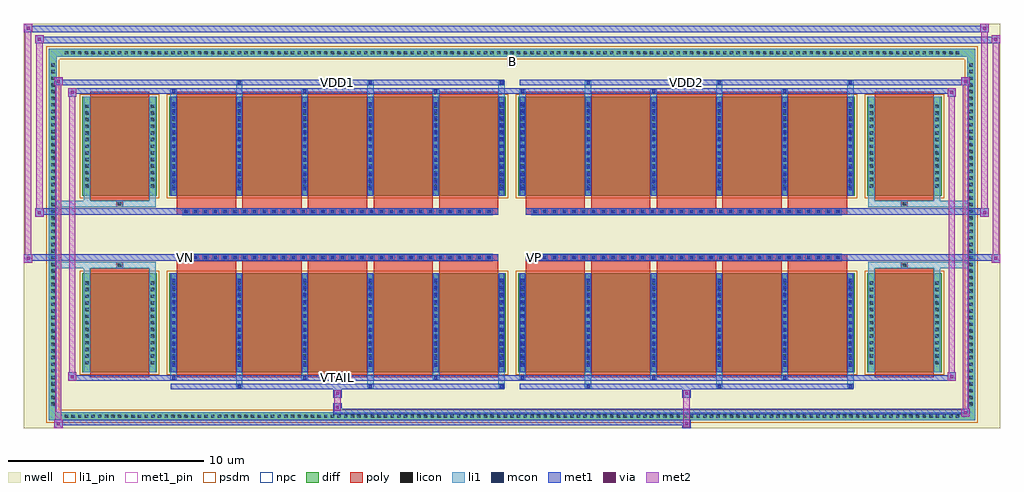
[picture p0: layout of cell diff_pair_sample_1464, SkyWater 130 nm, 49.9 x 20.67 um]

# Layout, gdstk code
import gdstk
lib = gdstk.Library(unit=1e-6, precision=5e-09)
def R(c, l, rs):  # rectangles x0, y0, x1, y1
    for r in rs: c.add(gdstk.rectangle(r[:2], r[2:], *l))
def A(c, l, x, y, w, h, nx, ny, dx, dy):  # array of equal rectangles
    R(c, l, [(x+i*dx, y+j*dy, x+i*dx+w, y+j*dy+h) for i in range(nx) for j in range(ny)])
def P(c, l, *ps):  # polygons
    for p in ps: c.add(gdstk.Polygon(p, *l))
nwell = (64, 20)
diff = (65, 20)
poly = (66, 20)
licon = (66, 44)
li1_pin = (67, 16)
li1 = (67, 20)
mcon = (67, 44)
met1_pin = (68, 16)
met1 = (68, 20)
via = (68, 44)
met2 = (69, 20)
psdm = (94, 20)
npc = (95, 20)

diff_pair_sample_1464 = lib.new_cell('diff_pair_sample_1464')
R(diff_pair_sample_1464, nwell, [(-24.95,-9.9,24.95,10.77), (-22.27,-8.09,-0.01,-0.805), (0.01,-8.09,22.27,-0.805), (-22.27,0.805,-0.01,8.09), (0.01,0.805,22.27,8.09)])
A(diff_pair_sample_1464, diff, -22.985, -9.5, 0.41, 0.41, 135, 2, 0.34, 18.59)
A(diff_pair_sample_1464, diff, -23.68, -8.875, 0.41, 0.41, 1, 52, 0, 0.34)
A(diff_pair_sample_1464, diff, 23.27, -8.875, 0.41, 0.41, 1, 52, 0, 0.34)
R(diff_pair_sample_1464, diff, [(-22.985,-9.5,22.985,-9.09), (-23.68,-8.875,-23.27,8.875), (23.27,-8.875,23.68,8.875), (-21.96,-7.045,-18.16,-1.985), (-17.52,-7.045,-0.32,-1.985), (0.32,-7.045,17.52,-1.985), (18.16,-7.045,21.96,-1.985), (-21.96,1.985,-18.16,7.045), (-17.52,1.985,-0.32,7.045), (0.32,1.985,17.52,7.045), (18.16,1.985,21.96,7.045), (-22.985,9.09,22.985,9.5)])
P(diff_pair_sample_1464, diff, [(23.68,9.5),(-23.68,9.5),(-23.68,-9.09),(-23.27,-9.09),(-23.27,9.09),(23.27,9.09),(23.27,-9.09),(-23.27,-9.09),(-23.68,-9.09),(-23.68,-9.5),(23.68,-9.5)])
A(diff_pair_sample_1464, poly, -17.13, -7.295, 3.02, 5.56, 5, 2, 3.35, 9.03)
A(diff_pair_sample_1464, poly, 0.71, -7.295, 3.02, 5.56, 5, 2, 3.35, 9.03)
A(diff_pair_sample_1464, poly, -17.13, -1.735, 3.02, 0.4, 5, 2, 3.35, 3.07)
A(diff_pair_sample_1464, poly, 0.71, -1.735, 3.02, 0.4, 5, 2, 3.35, 3.07)
A(diff_pair_sample_1464, poly, -16.835, -1.335, 0.33, 0.33, 32, 2, 0.5, 2.34)
A(diff_pair_sample_1464, poly, 1.005, -1.335, 0.33, 0.33, 32, 2, 0.5, 2.34)
R(diff_pair_sample_1464, poly, [(-21.57,-7.295,-18.55,-1.735), (18.55,-7.295,21.57,-1.735), (-20.225,-1.735,-19.895,-1.405), (-20.225,-1.735,-19.895,-1.405), (19.895,-1.735,20.225,-1.405), (19.895,-1.735,20.225,-1.405), (-17.13,-1.335,-0.71,-1.005), (0.71,-1.335,17.13,-1.005), (-17.13,1.005,-0.71,1.335), (0.71,1.005,17.13,1.335), (-20.225,1.405,-19.895,1.735), (-20.225,1.405,-19.895,1.735), (19.895,1.405,20.225,1.735), (19.895,1.405,20.225,1.735), (-21.57,1.735,-18.55,7.295), (18.55,1.735,21.57,7.295)])
A(diff_pair_sample_1464, licon, -22.865, -9.38, 0.17, 0.17, 135, 2, 0.34, 18.59)
A(diff_pair_sample_1464, licon, -23.56, -8.755, 0.17, 0.17, 1, 52, 0, 0.34)
A(diff_pair_sample_1464, licon, 23.39, -8.755, 0.17, 0.17, 1, 52, 0, 0.34)
A(diff_pair_sample_1464, licon, -21.82, -6.64, 0.17, 0.17, 1, 13, 0, 0.34)
A(diff_pair_sample_1464, licon, -18.47, -6.64, 0.17, 0.17, 1, 13, 0, 0.34)
A(diff_pair_sample_1464, licon, -17.38, -6.64, 0.17, 0.17, 6, 13, 3.35, 0.34)
A(diff_pair_sample_1464, licon, 0.46, -6.64, 0.17, 0.17, 6, 13, 3.35, 0.34)
A(diff_pair_sample_1464, licon, 18.3, -6.64, 0.17, 0.17, 1, 13, 0, 0.34)
A(diff_pair_sample_1464, licon, 21.65, -6.64, 0.17, 0.17, 1, 13, 0, 0.34)
A(diff_pair_sample_1464, licon, -16.755, -1.255, 0.17, 0.17, 32, 2, 0.5, 2.34)
A(diff_pair_sample_1464, licon, 1.085, -1.255, 0.17, 0.17, 32, 2, 0.5, 2.34)
A(diff_pair_sample_1464, licon, -21.82, 2.39, 0.17, 0.17, 1, 13, 0, 0.34)
A(diff_pair_sample_1464, licon, -18.47, 2.39, 0.17, 0.17, 1, 13, 0, 0.34)
A(diff_pair_sample_1464, licon, -17.38, 2.39, 0.17, 0.17, 6, 13, 3.35, 0.34)
A(diff_pair_sample_1464, licon, 0.46, 2.39, 0.17, 0.17, 6, 13, 3.35, 0.34)
A(diff_pair_sample_1464, licon, 18.3, 2.39, 0.17, 0.17, 1, 13, 0, 0.34)
A(diff_pair_sample_1464, licon, 21.65, 2.39, 0.17, 0.17, 1, 13, 0, 0.34)
R(diff_pair_sample_1464, licon, [(-20.145,-1.655,-19.975,-1.485), (19.975,-1.655,20.145,-1.485), (-20.145,1.485,-19.975,1.655), (19.975,1.485,20.145,1.655)])
R(diff_pair_sample_1464, li1_pin, [(-0.25,8.59,0.25,9.09)])
A(diff_pair_sample_1464, li1, -22.945, -9.46, 0.33, 0.33, 135, 2, 0.34, 18.59)
A(diff_pair_sample_1464, li1, -23.64, -8.835, 0.33, 0.33, 1, 52, 0, 0.34)
A(diff_pair_sample_1464, li1, 23.31, -8.835, 0.33, 0.33, 1, 52, 0, 0.34)
A(diff_pair_sample_1464, li1, -14.11, -7.85, 0.33, 0.805, 3, 2, 6.7, 14.895)
A(diff_pair_sample_1464, li1, -14.03, -7.85, 0.17, 0.17, 3, 2, 6.7, 15.53)
A(diff_pair_sample_1464, li1, 3.73, -7.85, 0.33, 0.805, 3, 2, 6.7, 14.895)
A(diff_pair_sample_1464, li1, 3.81, -7.85, 0.17, 0.17, 3, 2, 6.7, 15.53)
A(diff_pair_sample_1464, li1, -17.46, -7.42, 0.33, 0.375, 3, 2, 6.7, 14.465)
A(diff_pair_sample_1464, li1, -17.38, -7.42, 0.17, 0.17, 3, 2, 6.7, 14.67)
A(diff_pair_sample_1464, li1, 0.38, -7.42, 0.33, 0.375, 3, 2, 6.7, 14.465)
A(diff_pair_sample_1464, li1, 0.46, -7.42, 0.17, 0.17, 3, 2, 6.7, 14.67)
A(diff_pair_sample_1464, li1, -17.46, -7.045, 0.33, 5.06, 6, 2, 3.35, 9.03)
A(diff_pair_sample_1464, li1, 0.38, -7.045, 0.33, 5.06, 6, 2, 3.35, 9.03)
A(diff_pair_sample_1464, li1, -17.38, -6.76, 0.17, 0.17, 6, 13, 3.35, 0.36)
A(diff_pair_sample_1464, li1, -17.38, -6.76, 0.17, 4.49, 6, 2, 3.35, 9.03)
A(diff_pair_sample_1464, li1, 0.46, -6.76, 0.17, 0.17, 6, 13, 3.35, 0.36)
A(diff_pair_sample_1464, li1, 0.46, -6.76, 0.17, 4.49, 6, 2, 3.35, 9.03)
A(diff_pair_sample_1464, li1, -21.9, -6.72, 0.33, 0.33, 1, 13, 0, 0.34)
A(diff_pair_sample_1464, li1, -18.55, -6.72, 0.33, 0.33, 1, 13, 0, 0.34)
A(diff_pair_sample_1464, li1, -17.46, -6.72, 0.33, 0.33, 6, 13, 3.35, 0.34)
A(diff_pair_sample_1464, li1, 0.38, -6.72, 0.33, 0.33, 6, 13, 3.35, 0.34)
A(diff_pair_sample_1464, li1, 18.22, -6.72, 0.33, 0.33, 1, 13, 0, 0.34)
A(diff_pair_sample_1464, li1, 21.57, -6.72, 0.33, 0.33, 1, 13, 0, 0.34)
A(diff_pair_sample_1464, li1, -16.835, -1.335, 0.33, 0.33, 32, 2, 0.5, 2.34)
A(diff_pair_sample_1464, li1, 1.005, -1.335, 0.33, 0.33, 32, 2, 0.5, 2.34)
A(diff_pair_sample_1464, li1, -17.38, 2.27, 0.17, 0.17, 6, 13, 3.35, 0.36)
A(diff_pair_sample_1464, li1, 0.46, 2.27, 0.17, 0.17, 6, 13, 3.35, 0.36)
A(diff_pair_sample_1464, li1, -21.9, 2.31, 0.33, 0.33, 1, 13, 0, 0.34)
A(diff_pair_sample_1464, li1, -18.55, 2.31, 0.33, 0.33, 1, 13, 0, 0.34)
A(diff_pair_sample_1464, li1, -17.46, 2.31, 0.33, 0.33, 6, 13, 3.35, 0.34)
A(diff_pair_sample_1464, li1, 0.38, 2.31, 0.33, 0.33, 6, 13, 3.35, 0.34)
A(diff_pair_sample_1464, li1, 18.22, 2.31, 0.33, 0.33, 1, 13, 0, 0.34)
A(diff_pair_sample_1464, li1, 21.57, 2.31, 0.33, 0.33, 1, 13, 0, 0.34)
R(diff_pair_sample_1464, li1, [(-23.68,-9.5,-23.27,-9.09), (-23.68,-9.5,-23.27,-9.09), (-23.27,-9.5,23.27,-9.09), (23.27,-9.5,23.68,-9.09), (23.27,-9.5,23.68,-9.09), (-23.68,-9.09,-23.27,9.09), (23.27,-9.09,23.68,9.09), (-21.9,-7.045,-21.57,-1.985), (-18.55,-7.045,-18.22,-1.985), (18.22,-7.045,18.55,-1.985), (21.57,-7.045,21.9,-1.985), (-21.9,-1.985,-21.57,-1.405), (-18.55,-1.985,-18.22,-1.405), (18.22,-1.985,18.55,-1.405), (21.57,-1.985,21.9,-1.405), (-23.68,-1.735,-20.225,-1.405), (-21.9,-1.735,-20.225,-1.405), (-20.225,-1.735,-19.895,-1.405), (-19.895,-1.735,-18.22,-1.405), (18.22,-1.735,19.895,-1.405), (19.895,-1.735,20.225,-1.405), (19.895,-1.735,23.68,-1.405), (20.225,-1.735,21.9,-1.405), (-23.68,1.405,-20.225,1.735), (-21.9,1.405,-20.225,1.735), (-21.9,1.405,-21.57,1.985), (-20.225,1.405,-19.895,1.735), (-19.895,1.405,-18.22,1.735), (-18.55,1.405,-18.22,1.985), (18.22,1.405,19.895,1.735), (18.22,1.405,18.55,1.985), (19.895,1.405,20.225,1.735), (19.895,1.405,23.68,1.735), (20.225,1.405,21.9,1.735), (21.57,1.405,21.9,1.985), (-21.9,1.985,-21.57,7.045), (-18.55,1.985,-18.22,7.045), (18.22,1.985,18.55,7.045), (21.57,1.985,21.9,7.045), (-23.68,9.09,-23.27,9.5), (-23.68,9.09,-23.27,9.5), (-23.27,9.09,23.27,9.5), (23.27,9.09,23.68,9.5), (23.27,9.09,23.68,9.5)])
A(diff_pair_sample_1464, mcon, -14.03, -7.85, 0.17, 0.17, 3, 2, 6.7, 15.53)
A(diff_pair_sample_1464, mcon, 3.81, -7.85, 0.17, 0.17, 3, 2, 6.7, 15.53)
A(diff_pair_sample_1464, mcon, -17.38, -7.42, 0.17, 0.17, 3, 2, 6.7, 14.67)
A(diff_pair_sample_1464, mcon, 0.46, -7.42, 0.17, 0.17, 3, 2, 6.7, 14.67)
A(diff_pair_sample_1464, mcon, -17.38, -6.76, 0.17, 0.17, 6, 13, 3.35, 0.36)
A(diff_pair_sample_1464, mcon, 0.46, -6.76, 0.17, 0.17, 6, 13, 3.35, 0.36)
A(diff_pair_sample_1464, mcon, -16.755, -1.255, 0.17, 0.17, 32, 2, 0.5, 2.34)
A(diff_pair_sample_1464, mcon, 1.085, -1.255, 0.17, 0.17, 32, 2, 0.5, 2.34)
A(diff_pair_sample_1464, mcon, -17.38, 2.27, 0.17, 0.17, 6, 13, 3.35, 0.36)
A(diff_pair_sample_1464, mcon, 0.46, 2.27, 0.17, 0.17, 6, 13, 3.35, 0.36)
R(diff_pair_sample_1464, met1_pin, [(-9.055,-7.46,-8.785,-7.19), (-16.805,-1.295,-16.535,-1.025), (1.035,-1.295,1.305,-1.025), (-9.055,7.64,-8.785,7.91), (8.785,7.64,9.055,7.91)])
A(diff_pair_sample_1464, met1, -14.09, -7.91, 0.29, 0.29, 3, 2, 6.7, 15.53)
A(diff_pair_sample_1464, met1, 3.75, -7.91, 0.29, 0.29, 3, 2, 6.7, 15.53)
A(diff_pair_sample_1464, met1, -17.44, -7.48, 0.29, 0.29, 3, 2, 6.7, 14.67)
A(diff_pair_sample_1464, met1, 0.4, -7.48, 0.29, 0.29, 3, 2, 6.7, 14.67)
A(diff_pair_sample_1464, met1, -17.44, -7.045, 0.29, 5.06, 6, 2, 3.35, 9.03)
A(diff_pair_sample_1464, met1, 0.4, -7.045, 0.29, 5.06, 6, 2, 3.35, 9.03)
A(diff_pair_sample_1464, met1, -17.44, -6.82, 0.29, 0.29, 6, 13, 3.35, 0.36)
A(diff_pair_sample_1464, met1, 0.4, -6.82, 0.29, 0.29, 6, 13, 3.35, 0.36)
A(diff_pair_sample_1464, met1, -16.815, -1.315, 0.29, 0.29, 32, 2, 0.5, 2.34)
A(diff_pair_sample_1464, met1, 1.025, -1.315, 0.29, 0.29, 32, 2, 0.5, 2.34)
A(diff_pair_sample_1464, met1, -17.44, 2.21, 0.29, 0.29, 6, 13, 3.35, 0.36)
A(diff_pair_sample_1464, met1, 0.4, 2.21, 0.29, 0.29, 6, 13, 3.35, 0.36)
R(diff_pair_sample_1464, met1, [(-23.41,-9.9,-22.98,-9.47), (8.705,-9.9,9.135,-9.47), (-23.41,-9.76,9.135,-9.47), (22.98,-9.33,23.41,-8.9), (-9.135,-9.19,23.41,-8.9), (-9.135,-9.05,-8.705,-8.62), (-9.135,-8.34,-8.705,-7.91), (8.705,-8.34,9.135,-7.91), (-17.44,-7.91,-0.4,-7.62), (0.4,-7.91,17.44,-7.62), (-22.7,-7.48,-22.27,-7.05), (-22.7,-7.48,-17.44,-7.19), (-17.44,-7.48,-0.4,-7.19), (-0.4,-7.48,0.4,-7.19), (0.4,-7.48,17.44,-7.19), (17.44,-7.48,22.7,-7.19), (22.27,-7.48,22.7,-7.05), (-24.95,-1.435,-24.52,-1.005), (24.52,-1.435,24.95,-1.005), (-24.95,-1.335,-0.71,-1.005), (-17.13,-1.335,-0.71,-1.005), (0.71,-1.335,17.13,-1.005), (0.71,-1.335,24.95,-1.005), (-24.38,0.905,-23.95,1.335), (23.95,0.905,24.38,1.335), (-24.38,1.005,-17.13,1.335), (-17.13,1.005,-0.71,1.335), (0.71,1.005,17.13,1.335), (17.13,1.005,24.38,1.335), (-22.7,7.05,-22.27,7.48), (22.27,7.05,22.7,7.48), (-22.7,7.19,-17.44,7.48), (-17.44,7.19,-0.4,7.48), (-0.4,7.19,0.4,7.48), (0.4,7.19,17.44,7.48), (17.44,7.19,22.7,7.48), (-23.41,7.62,-22.98,8.05), (-23.41,7.62,-17.44,7.91), (-17.44,7.62,-0.4,7.91), (0.4,7.62,17.44,7.91), (17.44,7.62,23.41,7.91), (22.98,7.62,23.41,8.05), (-24.38,9.77,-23.95,10.2), (-24.38,9.77,-22.27,10.1), (-22.27,9.77,22.27,10.1), (22.27,9.77,24.95,10.1), (24.52,9.77,24.95,10.2), (-24.95,10.34,-24.52,10.77), (-24.95,10.34,-22.27,10.67), (-22.27,10.34,22.27,10.67), (22.27,10.34,24.38,10.67), (23.95,10.34,24.38,10.77)])
R(diff_pair_sample_1464, via, [(-23.27,-9.76,-23.12,-9.61), (8.845,-9.76,8.995,-9.61), (23.12,-9.19,23.27,-9.04), (-8.995,-8.91,-8.845,-8.76), (-8.995,-8.2,-8.845,-8.05), (8.845,-8.2,8.995,-8.05), (-22.56,-7.34,-22.41,-7.19), (22.41,-7.34,22.56,-7.19), (-24.81,-1.295,-24.66,-1.145), (24.66,-1.295,24.81,-1.145), (-24.24,1.045,-24.09,1.195), (24.09,1.045,24.24,1.195), (-22.56,7.19,-22.41,7.34), (22.41,7.19,22.56,7.34), (-23.27,7.76,-23.12,7.91), (23.12,7.76,23.27,7.91), (-24.24,9.91,-24.09,10.06), (24.66,9.91,24.81,10.06), (-24.81,10.48,-24.66,10.63), (24.09,10.48,24.24,10.63)])
R(diff_pair_sample_1464, met2, [(-23.41,-9.9,-22.98,-9.47), (-23.34,-9.9,-23.05,8.05), (-23.05,-9.9,-22.98,-9.47), (-23.36,-9.85,-23.03,-9.52), (8.755,-9.85,9.085,-9.52), (8.755,-9.52,9.085,-8.29), (22.98,-9.33,23.41,-8.9), (23.05,-9.33,23.34,8.05), (23.34,-9.33,23.41,-8.9), (23.03,-9.28,23.36,-8.95), (-9.085,-9,-8.755,-8.67), (-9.085,-8.67,-8.755,-8.29), (-9.085,-8.29,-8.755,-7.96), (8.755,-8.29,9.085,-7.96), (-22.7,-7.48,-22.27,-7.05), (-22.63,-7.48,-22.34,7.48), (-22.34,-7.48,-22.27,-7.05), (22.27,-7.48,22.7,-7.05), (22.34,-7.48,22.63,7.48), (22.63,-7.48,22.7,-7.05), (-22.65,-7.43,-22.32,-7.1), (22.32,-7.43,22.65,-7.1), (-24.95,-1.435,-24.52,-1.005), (-24.9,-1.435,-24.57,10.77), (-24.57,-1.435,-24.52,-1.005), (24.52,-1.435,24.95,-1.005), (24.57,-1.435,24.9,10.2), (24.9,-1.435,24.95,-1.005), (-24.9,-1.385,-24.57,-1.055), (24.57,-1.385,24.9,-1.055), (-24.38,0.905,-23.95,1.335), (-24.33,0.905,-24,10.2), (-24,0.905,-23.95,1.335), (23.95,0.905,24.38,1.335), (24,0.905,24.33,10.77), (24.33,0.905,24.38,1.335), (-24.33,0.955,-24,1.285), (24,0.955,24.33,1.285), (-22.7,7.05,-22.27,7.48), (-22.34,7.05,-22.27,7.48), (22.27,7.05,22.7,7.48), (22.63,7.05,22.7,7.48), (-22.65,7.1,-22.32,7.43), (22.32,7.1,22.65,7.43), (-23.41,7.62,-22.98,8.05), (-23.05,7.62,-22.98,8.05), (22.98,7.62,23.41,8.05), (23.34,7.62,23.41,8.05), (-23.36,7.67,-23.03,8), (23.03,7.67,23.36,8), (-24.38,9.77,-23.95,10.2), (-24,9.77,-23.95,10.2), (24.52,9.77,24.95,10.2), (24.9,9.77,24.95,10.2), (-24.33,9.82,-24,10.15), (24.57,9.82,24.9,10.15), (-24.95,10.34,-24.52,10.77), (-24.57,10.34,-24.52,10.77), (23.95,10.34,24.38,10.77), (24.33,10.34,24.38,10.77), (-24.9,10.39,-24.57,10.72), (24,10.39,24.33,10.72)])
R(diff_pair_sample_1464, psdm, [(-22.09,-7.175,-18.03,-1.855), (-17.65,-7.175,-0.19,-1.855), (0.19,-7.175,17.65,-1.855), (18.03,-7.175,22.09,-1.855), (-22.09,1.855,-18.03,7.175), (-17.65,1.855,-0.19,7.175), (0.19,1.855,17.65,7.175), (18.03,1.855,22.09,7.175)])
P(diff_pair_sample_1464, psdm, [(23.81,9.63),(-23.81,9.63),(-23.81,-8.96),(-23.14,-8.96),(-23.14,8.96),(23.14,8.96),(23.14,-8.96),(-23.14,-8.96),(-23.81,-8.96),(-23.81,-9.63),(23.81,-9.63)])
A(diff_pair_sample_1464, npc, -16.855, -1.355, 0.37, 0.37, 32, 2, 0.5, 2.34)
A(diff_pair_sample_1464, npc, 0.985, -1.355, 0.37, 0.37, 32, 2, 0.5, 2.34)
R(diff_pair_sample_1464, npc, [(-20.245,-1.755,-19.875,-1.385), (19.875,-1.755,20.245,-1.385), (-16.855,-1.355,-15.985,-0.985), (-16.855,-1.355,-15.985,-0.985), (-16.355,-1.355,-15.485,-0.985), (-16.355,-1.355,-15.485,-0.985), (-15.855,-1.355,-14.985,-0.985), (-15.855,-1.355,-14.985,-0.985), (-15.355,-1.355,-14.485,-0.985), (-15.355,-1.355,-14.485,-0.985), (-14.855,-1.355,-13.985,-0.985), (-14.855,-1.355,-13.985,-0.985), (-14.355,-1.355,-13.485,-0.985), (-14.355,-1.355,-13.485,-0.985), (-13.855,-1.355,-12.985,-0.985), (-13.855,-1.355,-12.985,-0.985), (-13.355,-1.355,-12.485,-0.985), (-13.355,-1.355,-12.485,-0.985), (-12.855,-1.355,-11.985,-0.985), (-12.855,-1.355,-11.985,-0.985), (-12.355,-1.355,-11.485,-0.985), (-12.355,-1.355,-11.485,-0.985), (-11.855,-1.355,-10.985,-0.985), (-11.855,-1.355,-10.985,-0.985), (-11.355,-1.355,-10.485,-0.985), (-11.355,-1.355,-10.485,-0.985), (-10.855,-1.355,-9.985,-0.985), (-10.855,-1.355,-9.985,-0.985), (-10.355,-1.355,-9.485,-0.985), (-10.355,-1.355,-9.485,-0.985), (-9.855,-1.355,-8.985,-0.985), (-9.855,-1.355,-8.985,-0.985), (-9.355,-1.355,-8.485,-0.985), (-9.355,-1.355,-8.485,-0.985), (-8.855,-1.355,-7.985,-0.985), (-8.855,-1.355,-7.985,-0.985), (-8.355,-1.355,-7.485,-0.985), (-8.355,-1.355,-7.485,-0.985), (-7.855,-1.355,-6.985,-0.985), (-7.855,-1.355,-6.985,-0.985), (-7.355,-1.355,-6.485,-0.985), (-7.355,-1.355,-6.485,-0.985), (-6.855,-1.355,-5.985,-0.985), (-6.855,-1.355,-5.985,-0.985), (-6.355,-1.355,-5.485,-0.985), (-6.355,-1.355,-5.485,-0.985), (-5.855,-1.355,-4.985,-0.985), (-5.855,-1.355,-4.985,-0.985), (-5.355,-1.355,-4.485,-0.985), (-5.355,-1.355,-4.485,-0.985), (-4.855,-1.355,-3.985,-0.985), (-4.855,-1.355,-3.985,-0.985), (-4.355,-1.355,-3.485,-0.985), (-4.355,-1.355,-3.485,-0.985), (-3.855,-1.355,-2.985,-0.985), (-3.855,-1.355,-2.985,-0.985), (-3.355,-1.355,-2.485,-0.985), (-3.355,-1.355,-2.485,-0.985), (-2.855,-1.355,-1.985,-0.985), (-2.855,-1.355,-1.985,-0.985), (-2.355,-1.355,-1.485,-0.985), (-2.355,-1.355,-1.485,-0.985), (-1.855,-1.355,-0.985,-0.985), (-1.855,-1.355,-0.985,-0.985), (0.985,-1.355,1.855,-0.985), (0.985,-1.355,1.855,-0.985), (1.485,-1.355,2.355,-0.985), (1.485,-1.355,2.355,-0.985), (1.985,-1.355,2.855,-0.985), (1.985,-1.355,2.855,-0.985), (2.485,-1.355,3.355,-0.985), (2.485,-1.355,3.355,-0.985), (2.985,-1.355,3.855,-0.985), (2.985,-1.355,3.855,-0.985), (3.485,-1.355,4.355,-0.985), (3.485,-1.355,4.355,-0.985), (3.985,-1.355,4.855,-0.985), (3.985,-1.355,4.855,-0.985), (4.485,-1.355,5.355,-0.985), (4.485,-1.355,5.355,-0.985), (4.985,-1.355,5.855,-0.985), (4.985,-1.355,5.855,-0.985), (5.485,-1.355,6.355,-0.985), (5.485,-1.355,6.355,-0.985), (5.985,-1.355,6.855,-0.985), (5.985,-1.355,6.855,-0.985), (6.485,-1.355,7.355,-0.985), (6.485,-1.355,7.355,-0.985), (6.985,-1.355,7.855,-0.985), (6.985,-1.355,7.855,-0.985), (7.485,-1.355,8.355,-0.985), (7.485,-1.355,8.355,-0.985), (7.985,-1.355,8.855,-0.985), (7.985,-1.355,8.855,-0.985), (8.485,-1.355,9.355,-0.985), (8.485,-1.355,9.355,-0.985), (8.985,-1.355,9.855,-0.985), (8.985,-1.355,9.855,-0.985), (9.485,-1.355,10.355,-0.985), (9.485,-1.355,10.355,-0.985), (9.985,-1.355,10.855,-0.985), (9.985,-1.355,10.855,-0.985), (10.485,-1.355,11.355,-0.985), (10.485,-1.355,11.355,-0.985), (10.985,-1.355,11.855,-0.985), (10.985,-1.355,11.855,-0.985), (11.485,-1.355,12.355,-0.985), (11.485,-1.355,12.355,-0.985), (11.985,-1.355,12.855,-0.985), (11.985,-1.355,12.855,-0.985), (12.485,-1.355,13.355,-0.985), (12.485,-1.355,13.355,-0.985), (12.985,-1.355,13.855,-0.985), (12.985,-1.355,13.855,-0.985), (13.485,-1.355,14.355,-0.985), (13.485,-1.355,14.355,-0.985), (13.985,-1.355,14.855,-0.985), (13.985,-1.355,14.855,-0.985), (14.485,-1.355,15.355,-0.985), (14.485,-1.355,15.355,-0.985), (14.985,-1.355,15.855,-0.985), (14.985,-1.355,15.855,-0.985), (15.485,-1.355,16.355,-0.985), (15.485,-1.355,16.355,-0.985), (15.985,-1.355,16.855,-0.985), (15.985,-1.355,16.855,-0.985), (-16.855,0.985,-15.985,1.355), (-16.855,0.985,-15.985,1.355), (-16.355,0.985,-15.485,1.355), (-16.355,0.985,-15.485,1.355), (-15.855,0.985,-14.985,1.355), (-15.855,0.985,-14.985,1.355), (-15.355,0.985,-14.485,1.355), (-15.355,0.985,-14.485,1.355), (-14.855,0.985,-13.985,1.355), (-14.855,0.985,-13.985,1.355), (-14.355,0.985,-13.485,1.355), (-14.355,0.985,-13.485,1.355), (-13.855,0.985,-12.985,1.355), (-13.855,0.985,-12.985,1.355), (-13.355,0.985,-12.485,1.355), (-13.355,0.985,-12.485,1.355), (-12.855,0.985,-11.985,1.355), (-12.855,0.985,-11.985,1.355), (-12.355,0.985,-11.485,1.355), (-12.355,0.985,-11.485,1.355), (-11.855,0.985,-10.985,1.355), (-11.855,0.985,-10.985,1.355), (-11.355,0.985,-10.485,1.355), (-11.355,0.985,-10.485,1.355), (-10.855,0.985,-9.985,1.355), (-10.855,0.985,-9.985,1.355), (-10.355,0.985,-9.485,1.355), (-10.355,0.985,-9.485,1.355), (-9.855,0.985,-8.985,1.355), (-9.855,0.985,-8.985,1.355), (-9.355,0.985,-8.485,1.355), (-9.355,0.985,-8.485,1.355), (-8.855,0.985,-7.985,1.355), (-8.855,0.985,-7.985,1.355), (-8.355,0.985,-7.485,1.355), (-8.355,0.985,-7.485,1.355), (-7.855,0.985,-6.985,1.355), (-7.855,0.985,-6.985,1.355), (-7.355,0.985,-6.485,1.355), (-7.355,0.985,-6.485,1.355), (-6.855,0.985,-5.985,1.355), (-6.855,0.985,-5.985,1.355), (-6.355,0.985,-5.485,1.355), (-6.355,0.985,-5.485,1.355), (-5.855,0.985,-4.985,1.355), (-5.855,0.985,-4.985,1.355), (-5.355,0.985,-4.485,1.355), (-5.355,0.985,-4.485,1.355), (-4.855,0.985,-3.985,1.355), (-4.855,0.985,-3.985,1.355), (-4.355,0.985,-3.485,1.355), (-4.355,0.985,-3.485,1.355), (-3.855,0.985,-2.985,1.355), (-3.855,0.985,-2.985,1.355), (-3.355,0.985,-2.485,1.355), (-3.355,0.985,-2.485,1.355), (-2.855,0.985,-1.985,1.355), (-2.855,0.985,-1.985,1.355), (-2.355,0.985,-1.485,1.355), (-2.355,0.985,-1.485,1.355), (-1.855,0.985,-0.985,1.355), (-1.855,0.985,-0.985,1.355), (0.985,0.985,1.855,1.355), (0.985,0.985,1.855,1.355), (1.485,0.985,2.355,1.355), (1.485,0.985,2.355,1.355), (1.985,0.985,2.855,1.355), (1.985,0.985,2.855,1.355), (2.485,0.985,3.355,1.355), (2.485,0.985,3.355,1.355), (2.985,0.985,3.855,1.355), (2.985,0.985,3.855,1.355), (3.485,0.985,4.355,1.355), (3.485,0.985,4.355,1.355), (3.985,0.985,4.855,1.355), (3.985,0.985,4.855,1.355), (4.485,0.985,5.355,1.355), (4.485,0.985,5.355,1.355), (4.985,0.985,5.855,1.355), (4.985,0.985,5.855,1.355), (5.485,0.985,6.355,1.355), (5.485,0.985,6.355,1.355), (5.985,0.985,6.855,1.355), (5.985,0.985,6.855,1.355), (6.485,0.985,7.355,1.355), (6.485,0.985,7.355,1.355), (6.985,0.985,7.855,1.355), (6.985,0.985,7.855,1.355), (7.485,0.985,8.355,1.355), (7.485,0.985,8.355,1.355), (7.985,0.985,8.855,1.355), (7.985,0.985,8.855,1.355), (8.485,0.985,9.355,1.355), (8.485,0.985,9.355,1.355), (8.985,0.985,9.855,1.355), (8.985,0.985,9.855,1.355), (9.485,0.985,10.355,1.355), (9.485,0.985,10.355,1.355), (9.985,0.985,10.855,1.355), (9.985,0.985,10.855,1.355), (10.485,0.985,11.355,1.355), (10.485,0.985,11.355,1.355), (10.985,0.985,11.855,1.355), (10.985,0.985,11.855,1.355), (11.485,0.985,12.355,1.355), (11.485,0.985,12.355,1.355), (11.985,0.985,12.855,1.355), (11.985,0.985,12.855,1.355), (12.485,0.985,13.355,1.355), (12.485,0.985,13.355,1.355), (12.985,0.985,13.855,1.355), (12.985,0.985,13.855,1.355), (13.485,0.985,14.355,1.355), (13.485,0.985,14.355,1.355), (13.985,0.985,14.855,1.355), (13.985,0.985,14.855,1.355), (14.485,0.985,15.355,1.355), (14.485,0.985,15.355,1.355), (14.985,0.985,15.855,1.355), (14.985,0.985,15.855,1.355), (15.485,0.985,16.355,1.355), (15.485,0.985,16.355,1.355), (15.985,0.985,16.855,1.355), (15.985,0.985,16.855,1.355), (-20.245,1.385,-19.875,1.755), (19.875,1.385,20.245,1.755)])
diff_pair_sample_1464.add(gdstk.Label('VTAIL', (-8.92,-7.325), layer=68, texttype=5))
diff_pair_sample_1464.add(gdstk.Label('VN', (-16.67,-1.16), layer=68, texttype=5))
diff_pair_sample_1464.add(gdstk.Label('VP', (1.17,-1.16), layer=68, texttype=5))
diff_pair_sample_1464.add(gdstk.Label('B', (0,8.84), layer=67, texttype=5))
diff_pair_sample_1464.add(gdstk.Label('VDD2', (8.92,7.775), layer=68, texttype=5))
diff_pair_sample_1464.add(gdstk.Label('VDD1', (-8.92,7.775), layer=68, texttype=5))

lib.write_gds('diff_pair_sample_1464.gds')
